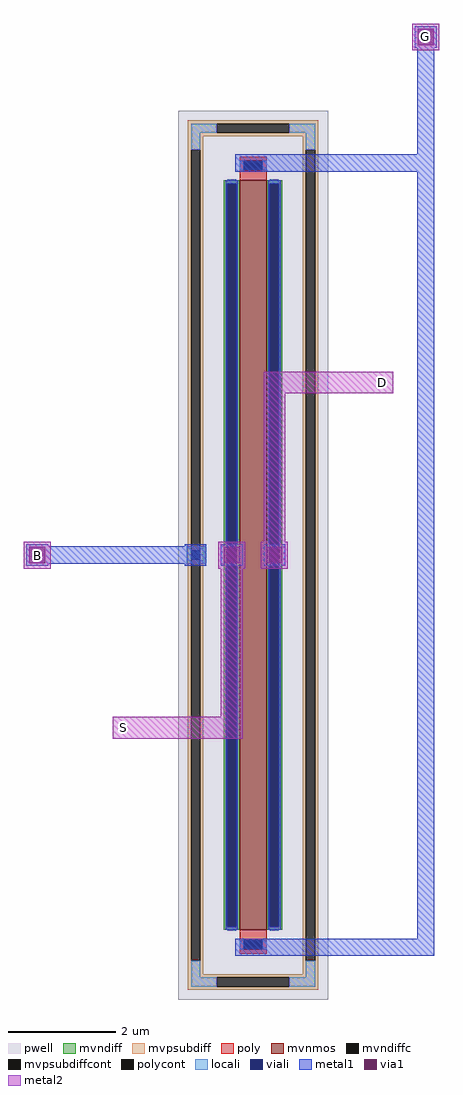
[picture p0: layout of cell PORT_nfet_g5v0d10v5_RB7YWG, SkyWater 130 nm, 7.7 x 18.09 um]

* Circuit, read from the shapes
.subckt PORT_nfet_g5v0d10v5_RB7YWG B S D G
XM1 D G S B sky130_fd_pr__nfet_g5v0d10v5 w=13.89 l=0.5
.ends

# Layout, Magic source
magic
tech sky130A
magscale 1 2
use sky130_fd_pr__nfet_g5v0d10v5_RB7YWG XDEV
transform 1 0 0 0 1 0
box -278 -1647 278 1647
<< locali >>
rect -246 -33 -180 33
<< viali >>
rect -230 -17 -196 17
<< metal1 >>
rect -253 -40 -173 40
rect -832 -32 -181 32
rect -840 -40 -760 40
rect -119 -40 -39 40
rect 39 -40 119 40
rect -66 1421 672 1485
rect -66 -1485 672 -1421
rect 608 -1476 672 1952
rect 600 1880 680 1960
<< via1 >>
rect -830 -30 -770 30
rect -109 -30 -49 30
rect 49 -30 109 30
rect 610 1890 670 1950
<< metal2 >>
rect -850 -50 -750 50
rect -129 -50 -29 50
rect -119 -40 -39 40
rect -119 -680 -39 40
rect 29 -50 129 50
rect 39 -40 119 40
rect 39 -40 119 680
rect -520 -680 -39 -600
rect 39 600 520 680
rect 590 1870 690 1970
<< labels >>
rlabel metal2 -830 -30 -770 30 0 B
port 1 nsew
rlabel metal2 -510 -670 -450 -610 0 S
port 2 nsew
rlabel metal2 450 610 510 670 0 D
port 3 nsew
rlabel metal2 610 1890 670 1950 0 G
port 4 nsew
<< end >>

# cell sky130_fd_pr__nfet_g5v0d10v5_RB7YWG: kit device sky130_fd_pr__nfet_g5v0d10v5, w 13.89 l 0.5 m 1 nf 1 diffcov 100 polycov 100 guard 1 glc 1 grc 1 gtc 1 gbc 1 tbcov 100 rlcov 100 topc 1 botc 1 poverlap 0 doverlap 1 lmin 0.50 wmin 0.42 compatible {sky130_fd_pr__nfet_01v8 sky130_fd_pr__nfet_01v8_lvt sky130_fd_bs_flash__special_sonosfet_star sky130_fd_pr__nfet_g5v0d10v5 sky130_fd_pr__nfet_05v0_nvt sky130_fd_pr__nfet_03v3_nvt} full_metal 1 viasrc 100 viadrn 100 viagate 100 viagb 0 viagr 0 viagl 0 viagt 0
